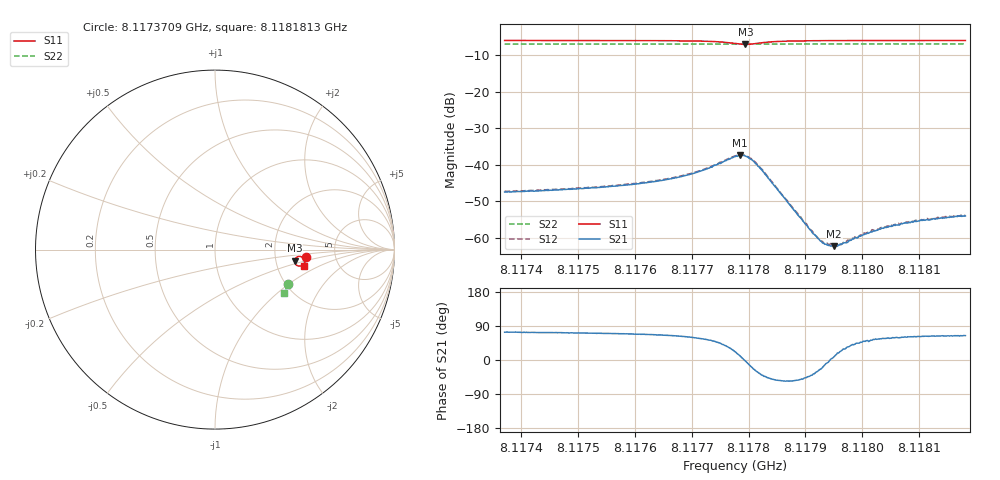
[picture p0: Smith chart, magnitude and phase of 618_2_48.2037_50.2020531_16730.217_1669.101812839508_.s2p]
#  HZ  S  RI  R  50.00
! Rohde & Schwarz Vector Network Analyzer
! Rohde-Schwarz,ZNB20-2Port,1311601062101988,3.16
! Created: UTC 3/20/2024, 12:03:47 PM
! freq[Hz]  re:S11  im:S11  re:S21  im:S21  re:S12  im:S12  re:S22  im:S22
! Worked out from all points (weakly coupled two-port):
!   401 points, 8.1173709 GHz to 8.1181813 GHz, reference 50 ohm
!   highest |S21| = -37.38 dB at 8.1177842 GHz (marker M1); lowest = -62.2 dB at 8.1179503 GHz (marker M2)
!   lowest |S11| = -7.0 dB at 8.1177943 GHz (marker M3), VSWR 2.62, Z = 127 - j19.7 ohm
!   |S11| at or under -10 dB: nowhere
!   |S22| runs from -6.9 to -6.8 dB; largest |S21 - S12| = 0.00052
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8.11737092e9  0.505 -0.0437  0.00122 0.00408  0.00129 0.00416  0.4091 -0.1929
8.11750666e9  0.5032 -0.0562  0.00151 0.0045  0.00158 0.00462  0.4052 -0.2017
8.11758972e9  0.5011 -0.0647  0.00193 0.00499  0.00201 0.00511  0.4028 -0.2071
8.11764239e9  0.4987 -0.0716  0.00244 0.00555  0.00254 0.00565  0.4011 -0.2106
8.11767683e9  0.4959 -0.0771  0.00308 0.00608  0.00316 0.00623  0.4 -0.2129
8.11771127e9  0.4907 -0.0838  0.0043 0.00682  0.00437 0.00692  0.3986 -0.215
8.1177761e9  0.4528 -0.0855  0.012 0.00485  0.0123 0.00497  0.3952 -0.2185
8.1177842e9  0.4462 -0.0769  0.0132 0.00279  0.0135 0.00283  0.3946 -0.2186
8.11779433e9  0.4435 -0.0618  0.0132 -0.00062  0.0135 -0.000672  0.3943 -0.2185
8.11780851e9  0.4537 -0.0436  0.0103 -0.0045  0.0106 -0.00456  0.3946 -0.2186
8.11782067e9  0.4674 -0.0378  0.00713 -0.00536  0.00735 -0.00546  0.3948 -0.2192
8.11785511e9  0.4904 -0.0459  0.00242 -0.00341  0.00248 -0.0035  0.3949 -0.222
8.11791183e9  0.4988 -0.0612  0.000906 -0.000763  0.000948 -0.00081  0.3932 -0.226
8.11791994e9  0.4991 -0.0627  0.000878 -0.000533  0.000891 -0.000554  0.393 -0.2267
8.11793007e9  0.4994 -0.0648  0.000807 -0.00028  0.000852 -0.000285  0.3926 -0.2274
8.11794222e9  0.4997 -0.0668  0.000789 -2.18e-05  0.000812 -8.67e-06  0.3923 -0.2281
8.11795033e9  0.4996 -0.068  0.000764 0.000115  0.000788 0.000137  0.3919 -0.2287
8.11796045e9  0.4999 -0.0695  0.000749 0.000299  0.000758 0.000341  0.3916 -0.2293
8.11802123e9  0.4997 -0.0773  0.000735 0.00101  0.000796 0.000986  0.3895 -0.2331
8.11804757e9  0.4996 -0.0804  0.000785 0.00121  0.000788 0.00123  0.3886 -0.2349
8.11810429e9  0.4989 -0.0858  0.000811 0.00154  0.000817 0.00159  0.3867 -0.2384
8.11818128e9  0.4977 -0.0927  0.000865 0.0018  0.000943 0.00185  0.3841 -0.2431
